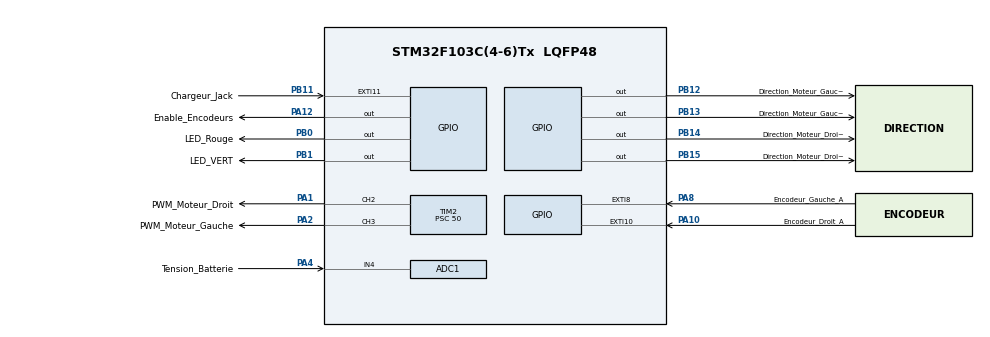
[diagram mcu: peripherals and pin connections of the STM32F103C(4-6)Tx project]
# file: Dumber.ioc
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ADC1.Channel-0\#ChannelRegularConversion=ADC_CHANNEL_4
ADC1.ContinuousConvMode=ENABLE
ADC1.NbrOfConversionFlag=1
ADC1.Rank-0\#ChannelRegularConversion=1
ADC1.SamplingTime-0\#ChannelRegularConversion=ADC_SAMPLETIME_1CYCLE_5
ADC1.master=1
Mcu.Family=STM32F1
Mcu.Name=STM32F103C(4-6)Tx
Mcu.Package=LQFP48
NVIC.EXTI15_10_IRQn=true\:0\:0\:false\:false\:true\:true
NVIC.EXTI9_5_IRQn=true\:0\:0\:false\:false\:true\:true
NVIC.PriorityGroup=NVIC_PRIORITYGROUP_4
PA1.GPIO_Label=PWM_Moteur_Droit
PA1.Signal=S_TIM2_CH2
PA10.GPIO_Label=Encodeur_Droit_A
PA10.Signal=GPXTI10
PA12.GPIO_Label=Enable_Encodeurs
PA12.Signal=GPIO_Output
PA13.Mode=JTAG_4_pins
PA13.Signal=SYS_JTMS-SWDIO
PA14.Mode=JTAG_4_pins
PA14.Signal=SYS_JTCK-SWCLK
PA15.Mode=JTAG_4_pins
PA15.Signal=SYS_JTDI
PA2.GPIO_Label=PWM_Moteur_Gauche
PA2.Signal=S_TIM2_CH3
PA4.GPIO_Label=Tension_Batterie
PA4.Signal=ADCx_IN4
PA8.GPIO_Label=Encodeur_Gauche_A
PA8.Signal=GPXTI8
PB0.GPIO_Label=LED_Rouge
PB0.Signal=GPIO_Output
PB1.GPIO_Label=LED_VERT
PB1.Signal=GPIO_Output
PB11.GPIO_Label=Chargeur_Jack
PB11.Signal=GPXTI11
PB12.GPIO_Label=Direction_Moteur_Gauche_A
PB12.Signal=GPIO_Output
PB13.GPIO_Label=Direction_Moteur_Gauche_B
PB13.Signal=GPIO_Output
PB14.GPIO_Label=Direction_Moteur_Droit_A
PB14.Signal=GPIO_Output
PB15.GPIO_Label=Direction_Moteur_Droit_B
PB15.Signal=GPIO_Output
PB3.Mode=JTAG_4_pins
PB3.Signal=SYS_JTDO-TRACESWO
ProjectManager.HeapSize=0x200
ProjectManager.StackSize=0x400
ProjectManager.TargetToolchain=MDK-ARM V5
RCC.APB1Freq_Value=8000000
RCC.APB2Freq_Value=8000000
SH.ADCx_IN4.0=ADC1_IN4,IN4
SH.S_TIM2_CH2.0=TIM2_CH2,PWM Generation2 CH2
SH.S_TIM2_CH3.0=TIM2_CH3,PWM Generation3 CH3
TIM2.Channel-PWM\ Generation2\ CH2=TIM_CHANNEL_2
TIM2.Channel-PWM\ Generation3\ CH3=TIM_CHANNEL_3
TIM2.Period=500
TIM2.Prescaler=50
TIM2.Pulse-PWM\ Generation2\ CH2=100
TIM2.Pulse-PWM\ Generation3\ CH3=100
board=dumber

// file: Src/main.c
/**
  ******************************************************************************
  * @file           : main.c
  * @brief          : Main program body
  ******************************************************************************
  ** This notice applies to any and all portions of this file
  * that are not between comment pairs USER CODE BEGIN and
  * USER CODE END. Other portions of this file, whether
  * inserted by the user or by software development tools
  * are owned by their respective copyright owners.
  *
  * COPYRIGHT(c) 2018 STMicroelectronics
  *
  * Redistribution and use in source and binary forms, with or without modification,
  * are permitted provided that the following conditions are met:
  *   1. Redistributions of source code must retain the above copyright notice,
  *      this list of conditions and the following disclaimer.
  *   2. Redistributions in binary form must reproduce the above copyright notice,
  *      this list of conditions and the following disclaimer in the documentation
  *      and/or other materials provided with the distribution.
  *   3. Neither the name of STMicroelectronics nor the names of its contributors
  *      may be used to endorse or promote products derived from this software
  *      without specific prior written permission.
  *
  * THIS SOFTWARE IS PROVIDED BY THE COPYRIGHT HOLDERS AND CONTRIBUTORS "AS IS"
  * AND ANY EXPRESS OR IMPLIED WARRANTIES, INCLUDING, BUT NOT LIMITED TO, THE
  * IMPLIED WARRANTIES OF MERCHANTABILITY AND FITNESS FOR A PARTICULAR PURPOSE ARE
  * DISCLAIMED. IN NO EVENT SHALL THE COPYRIGHT HOLDER OR CONTRIBUTORS BE LIABLE
  * FOR ANY DIRECT, INDIRECT, INCIDENTAL, SPECIAL, EXEMPLARY, OR CONSEQUENTIAL
  * DAMAGES (INCLUDING, BUT NOT LIMITED TO, PROCUREMENT OF SUBSTITUTE GOODS OR
  * SERVICES; LOSS OF USE, DATA, OR PROFITS; OR BUSINESS INTERRUPTION) HOWEVER
  * CAUSED AND ON ANY THEORY OF LIABILITY, WHETHER IN CONTRACT, STRICT LIABILITY,
  * OR TORT (INCLUDING NEGLIGENCE OR OTHERWISE) ARISING IN ANY WAY OUT OF THE USE
  * OF THIS SOFTWARE, EVEN IF ADVISED OF THE POSSIBILITY OF SUCH DAMAGE.
  *
  ******************************************************************************
  */
#include "main.h"
#include "stm32f1xx_hal.h"

/* USER CODE BEGIN Includes */
#include "led.h"
#include "deplacement.h"
/* USER CODE END Includes */

ADC_HandleTypeDef hadc1;

TIM_HandleTypeDef htim2;

/* USER CODE BEGIN PV */
/* Private variables ---------------------------------------------------------*/
int result = 0;
/* USER CODE END PV */

void SystemClock_Config(void);
static void MX_GPIO_Init(void);
static void MX_TIM2_Init(void);
static void MX_ADC1_Init(void);

void HAL_TIM_MspPostInit(TIM_HandleTypeDef *htim);

/* USER CODE BEGIN PFP */
/* Private function prototypes -----------------------------------------------*/

/* USER CODE END PFP */

/* USER CODE BEGIN 0 */
volatile void DelaiMs(int duree) {
	HAL_Delay(duree);
}

/* USER CODE END 0 */

int main(void)
{

  /* MCU Configuration----------------------------------------------------------*/

  /* Reset of all peripherals, Initializes the Flash interface and the Systick. */
  HAL_Init();

  /* Configure the system clock */
  SystemClock_Config();

  /* Initialize all configured peripherals */
  MX_GPIO_Init();
  MX_TIM2_Init();
  MX_ADC1_Init();
  /* USER CODE BEGIN 2 */
	/* Initialisation */
	HAL_GPIO_WritePin(GPIOA, GPIO_PIN_12, GPIO_PIN_RESET); // Enable encoders
	HAL_TIM_PWM_Start(&htim2,TIM_CHANNEL_2); //Enable PWM
	HAL_TIM_PWM_Start(&htim2,TIM_CHANNEL_3);
	OnLEDVerte();

	int DestinationX = 1000;
	int DestinationY = -200;
	int DelaiCommande = 500; //en ms

  /* USER CODE END 2 */

  /* Infinite loop */
  /* USER CODE BEGIN WHILE */
  while (1)
  {
		ResetEtat();

  /* USER CODE END WHILE */

  /* USER CODE BEGIN 3 */

													/* Tension batterie */
			HAL_ADC_Start(&hadc1); // on lance l'ADC
			HAL_ADC_PollForConversion(&hadc1, 100); // on lance la conversion
			result = HAL_ADC_GetValue(&hadc1); // on stocke le résultat
			HAL_ADC_Stop(&hadc1); // arret de l'ADC
			if (result >= 0x250) // Si le résultat est > à 0x100 (8V)
			{
				//Code si batterie suffisante :

				/* Code moteur */

				Arret();

				DelaiMs(DelaiCommande);
				DeplacerDe(DestinationX);
				DelaiMs(DelaiCommande);

				if (DestinationY > 0) {
					TournerD();
				}
				else if (DestinationY < 0) {
					TournerG();
					DestinationY*= -1;
				}

				DelaiMs(DelaiCommande);

				DeplacerDe(DestinationY);

				Arret();
				HAL_Delay(3*DelaiCommande);

			}
			else{
				HAL_GPIO_WritePin(GPIOB,GPIO_PIN_0,GPIO_PIN_SET);
				HAL_GPIO_WritePin(GPIOB,GPIO_PIN_1,GPIO_PIN_RESET);
			}
  }
  /* USER CODE END 3 */

}

void SystemClock_Config(void)
{

  RCC_OscInitTypeDef RCC_OscInitStruct;
  RCC_ClkInitTypeDef RCC_ClkInitStruct;
  RCC_PeriphCLKInitTypeDef PeriphClkInit;

    /**Initializes the CPU, AHB and APB busses clocks
    */
  RCC_OscInitStruct.OscillatorType = RCC_OSCILLATORTYPE_HSI;
  RCC_OscInitStruct.HSIState = RCC_HSI_ON;
  RCC_OscInitStruct.HSICalibrationValue = 16;
  RCC_OscInitStruct.PLL.PLLState = RCC_PLL_NONE;
  if (HAL_RCC_OscConfig(&RCC_OscInitStruct) != HAL_OK)
  {
    _Error_Handler(__FILE__, __LINE__);
  }

    /**Initializes the CPU, AHB and APB busses clocks
    */
  RCC_ClkInitStruct.ClockType = RCC_CLOCKTYPE_HCLK|RCC_CLOCKTYPE_SYSCLK
                              |RCC_CLOCKTYPE_PCLK1|RCC_CLOCKTYPE_PCLK2;
  RCC_ClkInitStruct.SYSCLKSource = RCC_SYSCLKSOURCE_HSI;
  RCC_ClkInitStruct.AHBCLKDivider = RCC_SYSCLK_DIV1;
  RCC_ClkInitStruct.APB1CLKDivider = RCC_HCLK_DIV1;
  RCC_ClkInitStruct.APB2CLKDivider = RCC_HCLK_DIV1;

  if (HAL_RCC_ClockConfig(&RCC_ClkInitStruct, FLASH_LATENCY_0) != HAL_OK)
  {
    _Error_Handler(__FILE__, __LINE__);
  }

  PeriphClkInit.PeriphClockSelection = RCC_PERIPHCLK_ADC;
  PeriphClkInit.AdcClockSelection = RCC_ADCPCLK2_DIV2;
  if (HAL_RCCEx_PeriphCLKConfig(&PeriphClkInit) != HAL_OK)
  {
    _Error_Handler(__FILE__, __LINE__);
  }

    /**Configure the Systick interrupt time
    */
  HAL_SYSTICK_Config(HAL_RCC_GetHCLKFreq()/1000);

    /**Configure the Systick
    */
  HAL_SYSTICK_CLKSourceConfig(SYSTICK_CLKSOURCE_HCLK);

  /* SysTick_IRQn interrupt configuration */
  HAL_NVIC_SetPriority(SysTick_IRQn, 0, 0);
}

/* ADC1 init function */
static void MX_ADC1_Init(void)
{

  ADC_ChannelConfTypeDef sConfig;

    /**Common config
    */
  hadc1.Instance = ADC1;
  hadc1.Init.ScanConvMode = ADC_SCAN_DISABLE;
  hadc1.Init.ContinuousConvMode = ENABLE;
  hadc1.Init.DiscontinuousConvMode = DISABLE;
  hadc1.Init.ExternalTrigConv = ADC_SOFTWARE_START;
  hadc1.Init.DataAlign = ADC_DATAALIGN_RIGHT;
  hadc1.Init.NbrOfConversion = 1;
  if (HAL_ADC_Init(&hadc1) != HAL_OK)
  {
    _Error_Handler(__FILE__, __LINE__);
  }

    /**Configure Regular Channel
    */
  sConfig.Channel = ADC_CHANNEL_4;
  sConfig.Rank = ADC_REGULAR_RANK_1;
  sConfig.SamplingTime = ADC_SAMPLETIME_1CYCLE_5;
  if (HAL_ADC_ConfigChannel(&hadc1, &sConfig) != HAL_OK)
  {
    _Error_Handler(__FILE__, __LINE__);
  }

}

/* TIM2 init function */
static void MX_TIM2_Init(void)
{

  TIM_MasterConfigTypeDef sMasterConfig;
  TIM_OC_InitTypeDef sConfigOC;

  htim2.Instance = TIM2;
  htim2.Init.Prescaler = 50;
  htim2.Init.CounterMode = TIM_COUNTERMODE_UP;
  htim2.Init.Period = 500;
  htim2.Init.ClockDivision = TIM_CLOCKDIVISION_DIV1;
  htim2.Init.AutoReloadPreload = TIM_AUTORELOAD_PRELOAD_DISABLE;
  if (HAL_TIM_PWM_Init(&htim2) != HAL_OK)
  {
    _Error_Handler(__FILE__, __LINE__);
  }

  sMasterConfig.MasterOutputTrigger = TIM_TRGO_RESET;
  sMasterConfig.MasterSlaveMode = TIM_MASTERSLAVEMODE_DISABLE;
  if (HAL_TIMEx_MasterConfigSynchronization(&htim2, &sMasterConfig) != HAL_OK)
  {
    _Error_Handler(__FILE__, __LINE__);
  }

  sConfigOC.OCMode = TIM_OCMODE_PWM1;
  sConfigOC.Pulse = 100;
  sConfigOC.OCPolarity = TIM_OCPOLARITY_HIGH;
  sConfigOC.OCFastMode = TIM_OCFAST_DISABLE;
  if (HAL_TIM_PWM_ConfigChannel(&htim2, &sConfigOC, TIM_CHANNEL_2) != HAL_OK)
  {
    _Error_Handler(__FILE__, __LINE__);
  }

  if (HAL_TIM_PWM_ConfigChannel(&htim2, &sConfigOC, TIM_CHANNEL_3) != HAL_OK)
  {
    _Error_Handler(__FILE__, __LINE__);
  }

  HAL_TIM_MspPostInit(&htim2);

}

/** Configure pins as
        * Analog
        * Input
        * Output
        * EVENT_OUT
        * EXTI
*/
static void MX_GPIO_Init(void)
{

  GPIO_InitTypeDef GPIO_InitStruct;

  /* GPIO Ports Clock Enable */
  __HAL_RCC_GPIOA_CLK_ENABLE();
  __HAL_RCC_GPIOB_CLK_ENABLE();

  /*Configure GPIO pin Output Level */
  HAL_GPIO_WritePin(GPIOB, LED_Rouge_Pin|LED_VERT_Pin|Direction_Moteur_Gauche_A_Pin|Direction_Moteur_Gauche_B_Pin
                          |Direction_Moteur_Droit_A_Pin|Direction_Moteur_Droit_B_Pin, GPIO_PIN_RESET);

  /*Configure GPIO pin Output Level */
  HAL_GPIO_WritePin(Enable_Encodeurs_GPIO_Port, Enable_Encodeurs_Pin, GPIO_PIN_RESET);

  /*Configure GPIO pins : LED_Rouge_Pin LED_VERT_Pin Direction_Moteur_Gauche_A_Pin Direction_Moteur_Gauche_B_Pin
                           Direction_Moteur_Droit_A_Pin Direction_Moteur_Droit_B_Pin */
  GPIO_InitStruct.Pin = LED_Rouge_Pin|LED_VERT_Pin|Direction_Moteur_Gauche_A_Pin|Direction_Moteur_Gauche_B_Pin
                          |Direction_Moteur_Droit_A_Pin|Direction_Moteur_Droit_B_Pin;
  GPIO_InitStruct.Mode = GPIO_MODE_OUTPUT_PP;
  GPIO_InitStruct.Speed = GPIO_SPEED_FREQ_LOW;
  HAL_GPIO_Init(GPIOB, &GPIO_InitStruct);

  /*Configure GPIO pin : Chargeur_Jack_Pin */
  GPIO_InitStruct.Pin = Chargeur_Jack_Pin;
  GPIO_InitStruct.Mode = GPIO_MODE_IT_RISING;
  GPIO_InitStruct.Pull = GPIO_NOPULL;
  HAL_GPIO_Init(Chargeur_Jack_GPIO_Port, &GPIO_InitStruct);

  /*Configure GPIO pins : Encodeur_Gauche_A_Pin Encodeur_Droit_A_Pin */
  GPIO_InitStruct.Pin = Encodeur_Gauche_A_Pin|Encodeur_Droit_A_Pin;
  GPIO_InitStruct.Mode = GPIO_MODE_IT_RISING;
  GPIO_InitStruct.Pull = GPIO_NOPULL;
  HAL_GPIO_Init(GPIOA, &GPIO_InitStruct);

  /*Configure GPIO pin : Enable_Encodeurs_Pin */
  GPIO_InitStruct.Pin = Enable_Encodeurs_Pin;
  GPIO_InitStruct.Mode = GPIO_MODE_OUTPUT_PP;
  GPIO_InitStruct.Speed = GPIO_SPEED_FREQ_LOW;
  HAL_GPIO_Init(Enable_Encodeurs_GPIO_Port, &GPIO_InitStruct);

  /* EXTI interrupt init*/
  HAL_NVIC_SetPriority(EXTI9_5_IRQn, 0, 0);
  HAL_NVIC_EnableIRQ(EXTI9_5_IRQn);

  HAL_NVIC_SetPriority(EXTI15_10_IRQn, 0, 0);
  HAL_NVIC_EnableIRQ(EXTI15_10_IRQn);

}

void _Error_Handler(char *file, int line)
{
  while(1)
  {
  }
}

/************************ (C) COPYRIGHT STMicroelectronics *****END OF FILE****/
